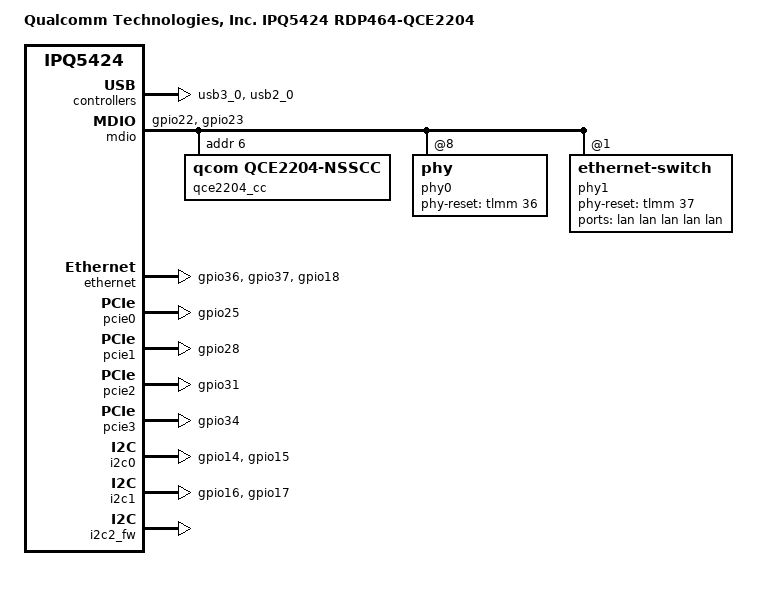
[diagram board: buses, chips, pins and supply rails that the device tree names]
// SPDX-License-Identifier: GPL-2.0-only
/*
 * Copyright (c) Qualcomm Technologies, Inc. and/or its subsidiaries.
 */

/dts-v1/;

#include "ipq5424.dtsi"
#include <asm/arch/dt-bindings/clock/qcom,qce2204-nsscc.h>
#include <asm/arch/dt-bindings/reset/qcom,qce2204-nsscc.h>

/ {
	model = "Qualcomm Technologies, Inc. IPQ5424 RDP464-QCE2204";
	compatible = "qcom,ipq5424-rdp464-qce2204", "qcom,ipq5424";

	aliases {
		serial0 = &uart1;
	};

	soc@0 {
		qmp_ssphy_0: ssphy@7D000 {
			status = "okay";
		};

		qusb2_phy_0: qusb2_0@7B000 {
			status = "okay";
		};

		usb3_0: usb3_0@8af8800 {
			status = "okay";
		};

		qusb2_phy_1: qusb2_1@71000 {
			status = "okay";
		};

		usb2_0: usb2_0@1ef8800 {
			status = "okay";
		};

		mdio: mdio@90000 {
			pinctrl-names = "default";
			pinctrl-0 = <&mdio_pinmux>;
			status = "okay";
			qcom,package-mode = "internal";
			#address-cells = <1>;
			#size-cells = <0>;

			/* QCE2204 clock/reset controller at MDIO address 6 */
			qce2204_cc: clock-controller@6 {
				#address-cells = <0>;
				#size-cells = <0>;
				compatible = "qcom,qce2204-nsscc";
				reg = <6 0>;
				#clock-cells = <1>;
				#reset-cells = <1>;
			};

			phy0: phy@8 {
				phy-reset-gpio = <&tlmm 36 0>;
				phy_addr = <8>;
				phy_type = <QCA81xx_PHY_TYPE>;
				id = <1>;
				uniphy_id = <0>;
				uniphy_type = <0>;
				xgmac;
			};

			phy1: ethernet-switch@1 {
				phy-reset-gpio = <&tlmm 37 0>;
				dev-mode = <0x1>;
				phy_addr = <0>;
				phy_type = <QCE2204_SWITCH_TYPE>;
				id = <2>;
				uniphy_id = <1>;
				uniphy_type = <0>;
				max_speed = <2500>;
				force-speed;
				xgmac;
				qcom,package-mode = "internal";
				base_addr = <0>;

				/* Per-PHY clocks */
				clocks = <&qce2204_cc QCE2204_NSSCC_SRDS1_SYS_CLK>,
					<&qce2204_cc QCE2204_NSSCC_MAC1_GEPHY0_TX_CLK>,
					<&qce2204_cc QCE2204_NSSCC_MAC1_GEPHY0_RX_CLK>,
					<&qce2204_cc QCE2204_NSSCC_GEPHY0_SYS_CLK>,
					/* Shared clocks for package */
					<&qce2204_cc QCE2204_NSSCC_MAC1_SRDS1_CH0_TX_CLK>,
					<&qce2204_cc QCE2204_NSSCC_MAC1_SRDS1_CH0_RX_CLK>,
					<&qce2204_cc QCE2204_NSSCC_MAC0_1_SRDS1_CH0_XGMII_TX_CLK>,
					<&qce2204_cc QCE2204_NSSCC_MAC0_1_SRDS1_CH0_XGMII_RX_CLK>,
					<&qce2204_cc QCE2204_NSSCC_MAC2_SRDS1_CH1_TX_CLK>,
					<&qce2204_cc QCE2204_NSSCC_MAC2_SRDS1_CH1_RX_CLK>,
					<&qce2204_cc QCE2204_NSSCC_MAC2_SRDS1_CH1_XGMII_TX_CLK>,
					<&qce2204_cc QCE2204_NSSCC_MAC2_SRDS1_CH1_XGMII_RX_CLK>,
					<&qce2204_cc QCE2204_NSSCC_MAC3_SRDS1_CH2_TX_CLK>,
					<&qce2204_cc QCE2204_NSSCC_MAC3_SRDS1_CH2_RX_CLK>,
					<&qce2204_cc QCE2204_NSSCC_MAC3_SRDS1_CH2_XGMII_TX_CLK>,
					<&qce2204_cc QCE2204_NSSCC_MAC3_SRDS1_CH2_XGMII_RX_CLK>,
					<&qce2204_cc QCE2204_NSSCC_MAC4_SRDS1_CH3_TX_CLK>,
					<&qce2204_cc QCE2204_NSSCC_MAC4_SRDS1_CH3_RX_CLK>,
					<&qce2204_cc QCE2204_NSSCC_MAC4_SRDS1_CH3_XGMII_TX_CLK>,
					<&qce2204_cc QCE2204_NSSCC_MAC4_SRDS1_CH3_XGMII_RX_CLK>,
					<&qce2204_cc QCE2204_NSSCC_AHB_CLK>,
					<&qce2204_cc QCE2204_NSSCC_SWITCH_CORE_CLK>,
					<&qce2204_cc QCE2204_NSSCC_SWITCH_IPE_CLK>,
					<&qce2204_cc QCE2204_NSSCC_SWITCH_BTQ_CLK>,
					<&qce2204_cc QCE2204_NSSCC_SWITCH_CFG_CLK>,
					<&qce2204_cc QCE2204_NSSCC_APB_BRIDGE_CLK>,
					<&qce2204_cc QCE2204_NSSCC_MAC0_TX_CLK>,
					<&qce2204_cc QCE2204_NSSCC_MAC0_RX_CLK>,
					<&qce2204_cc QCE2204_NSSCC_MAC1_TX_CLK>,
					<&qce2204_cc QCE2204_NSSCC_MAC1_RX_CLK>,
					<&qce2204_cc QCE2204_NSSCC_MAC2_TX_CLK>,
					<&qce2204_cc QCE2204_NSSCC_MAC2_RX_CLK>,
					<&qce2204_cc QCE2204_NSSCC_MAC3_TX_CLK>,
					<&qce2204_cc QCE2204_NSSCC_MAC3_RX_CLK>,
					<&qce2204_cc QCE2204_NSSCC_MAC4_TX_CLK>,
					<&qce2204_cc QCE2204_NSSCC_MAC4_RX_CLK>,
					<&qce2204_cc QCE2204_NSSCC_MAC5_TX_CLK>,
					<&qce2204_cc QCE2204_NSSCC_MAC5_RX_CLK>,
					/* MAC5 SRDS0 XGMII gate clocks for port 5 */
					<&qce2204_cc QCE2204_NSSCC_MAC5_TX_SRDS0_CH0_XGMII_CLK>,
					<&qce2204_cc QCE2204_NSSCC_MAC5_RX_SRDS0_CH0_XGMII_CLK>,
					/* SRDS0 (PCS0) clocks for port 5 USXGMII */
					<&qce2204_cc QCE2204_NSSCC_SRDS0_SYS_CLK>,
					<&qce2204_cc QCE2204_NSSCC_SRDS0_RX_MUX_SEL>,
					<&qce2204_cc QCE2204_NSSCC_SRDS0_TX_MUX_SEL>,
					<&qce2204_cc QCE2204_NSSCC_SRDS0_XGMII_RX_MUX_SEL>,
					<&qce2204_cc QCE2204_NSSCC_SRDS0_XGMII_TX_MUX_SEL>;
				clock-names = "pcs_sys_clk", "tx_clk", "rx_clk", "sys_clk",
					"ch0_gmii_tx_clk",
					"ch0_gmii_rx_clk",
					"ch0_xgmii_tx_clk",
					"ch0_xgmii_rx_clk",
					"ch1_gmii_tx_clk",
					"ch1_gmii_rx_clk",
					"ch1_xgmii_tx_clk",
					"ch1_xgmii_rx_clk",
					"ch2_gmii_tx_clk",
					"ch2_gmii_rx_clk",
					"ch2_xgmii_tx_clk",
					"ch2_xgmii_rx_clk",
					"ch3_gmii_tx_clk",
					"ch3_gmii_rx_clk",
					"ch3_xgmii_tx_clk",
					"ch3_xgmii_rx_clk",
					"ahb_clk",
					"switch_core_clk",
					"switch_ipe_clk",
					"switch_btq_clk",
					"switch_cfg_clk",
					"switch_apb_clk",
					"mac0_tx_clk",
					"mac0_rx_clk",
					"mac1_tx_clk",
					"mac1_rx_clk",
					"mac2_tx_clk",
					"mac2_rx_clk",
					"mac3_tx_clk",
					"mac3_rx_clk",
					"mac4_tx_clk",
					"mac4_rx_clk",
					"mac5_tx_clk",
					"mac5_rx_clk",
					"mac5_tx_xgmii_clk",
					"mac5_rx_xgmii_clk",
					"srds0_sys_clk",
					"srds0_rx_mux",
					"srds0_tx_mux",
					"srds0_xgmii_rx_mux",
					"srds0_xgmii_tx_mux";

				/* Per-PHY resets */
				resets = <&qce2204_cc QCE2204_NSSCC_SRDS1_SYS_ARES>,
					<&qce2204_cc QCE2204_NSSCC_MAC1_GEPHY0_TX_ARES>,
					<&qce2204_cc QCE2204_NSSCC_MAC1_GEPHY0_RX_ARES>,
					<&qce2204_cc QCE2204_NSSCC_GEPHY0_SYS_ARES>,
					/* Shared resets for package */
					<&qce2204_cc QCE2204_NSSCC_MAC1_SRDS1_CH0_TX_ARES>,
					<&qce2204_cc QCE2204_NSSCC_MAC1_SRDS1_CH0_RX_ARES>,
					<&qce2204_cc QCE2204_NSSCC_MAC0_1_SRDS1_CH0_XGMII_TX_ARES>,
					<&qce2204_cc QCE2204_NSSCC_MAC0_1_SRDS1_CH0_XGMII_RX_ARES>,
					<&qce2204_cc QCE2204_NSSCC_MAC2_SRDS1_CH1_TX_ARES>,
					<&qce2204_cc QCE2204_NSSCC_MAC2_SRDS1_CH1_RX_ARES>,
					<&qce2204_cc QCE2204_NSSCC_MAC2_SRDS1_CH1_XGMII_TX_ARES>,
					<&qce2204_cc QCE2204_NSSCC_MAC2_SRDS1_CH1_XGMII_RX_ARES>,
					<&qce2204_cc QCE2204_NSSCC_MAC3_SRDS1_CH2_TX_ARES>,
					<&qce2204_cc QCE2204_NSSCC_MAC3_SRDS1_CH2_RX_ARES>,
					<&qce2204_cc QCE2204_NSSCC_MAC3_SRDS1_CH2_XGMII_TX_ARES>,
					<&qce2204_cc QCE2204_NSSCC_MAC3_SRDS1_CH2_XGMII_RX_ARES>,
					<&qce2204_cc QCE2204_NSSCC_MAC4_SRDS1_CH3_TX_ARES>,
					<&qce2204_cc QCE2204_NSSCC_MAC4_SRDS1_CH3_RX_ARES>,
					<&qce2204_cc QCE2204_NSSCC_MAC4_SRDS1_CH3_XGMII_TX_ARES>,
					<&qce2204_cc QCE2204_NSSCC_MAC4_SRDS1_CH3_XGMII_RX_ARES>,
					<&qce2204_cc QCE2204_NSSCC_SRDS1_XPCS_ARES>,
					<&qce2204_cc QCE2204_NSSCC_SWITCH_BTQ_ARES>,
					<&qce2204_cc QCE2204_NSSCC_SWITCH_CFG_ARES>,
					<&qce2204_cc QCE2204_NSSCC_SWITCH_CORE_ARES>,
					<&qce2204_cc QCE2204_NSSCC_SWITCH_IPE_ARES>,
					<&qce2204_cc QCE2204_NSSCC_SWITCH_MAC0_ARES>,
					<&qce2204_cc QCE2204_NSSCC_SWITCH_MAC1_ARES>,
					<&qce2204_cc QCE2204_NSSCC_SWITCH_MAC2_ARES>,
					<&qce2204_cc QCE2204_NSSCC_SWITCH_MAC3_ARES>,
					<&qce2204_cc QCE2204_NSSCC_SWITCH_MAC4_ARES>,
					<&qce2204_cc QCE2204_NSSCC_SWITCH_MAC5_ARES>,
					<&qce2204_cc QCE2204_NSSCC_XGMAC0_PTP_REF_ARES>,
					<&qce2204_cc QCE2204_NSSCC_XGMAC1_PTP_REF_ARES>,
					<&qce2204_cc QCE2204_NSSCC_MAC0_TX_ARES>,
					<&qce2204_cc QCE2204_NSSCC_MAC0_RX_ARES>,
					<&qce2204_cc QCE2204_NSSCC_MAC1_TX_ARES>,
					<&qce2204_cc QCE2204_NSSCC_MAC1_RX_ARES>,
					<&qce2204_cc QCE2204_NSSCC_MAC2_TX_ARES>,
					<&qce2204_cc QCE2204_NSSCC_MAC2_RX_ARES>,
					<&qce2204_cc QCE2204_NSSCC_MAC3_TX_ARES>,
					<&qce2204_cc QCE2204_NSSCC_MAC3_RX_ARES>,
					<&qce2204_cc QCE2204_NSSCC_MAC4_TX_ARES>,
					<&qce2204_cc QCE2204_NSSCC_MAC4_RX_ARES>,
					<&qce2204_cc QCE2204_NSSCC_MAC5_TX_ARES>,
					<&qce2204_cc QCE2204_NSSCC_MAC5_RX_ARES>,
					/* MAC5 SRDS0 channel resets (PCS_FUNC_TX/RX in Linux) */
					<&qce2204_cc QCE2204_NSSCC_MAC5_TX_SRDS0_ARES>,
					<&qce2204_cc QCE2204_NSSCC_MAC5_RX_SRDS0_ARES>,
					/* MAC5 SRDS0 XGMII resets (XPCS_FUNC_XGMII_TX/RX in Linux) */
					<&qce2204_cc QCE2204_NSSCC_MAC5_TX_SRDS0_CH0_XGMII_ARES>,
					<&qce2204_cc QCE2204_NSSCC_MAC5_RX_SRDS0_CH0_XGMII_ARES>,
					/* SRDS0 (PCS0) resets for port 5 USXGMII */
					<&qce2204_cc QCE2204_NSSCC_SRDS0_SYS_ARES>,
					<&qce2204_cc QCE2204_NSSCC_SRDS0_XPCS_ARES>;
				reset-names = "pcs_sys_reset", "tx_reset", "rx_reset", "sys_reset",
					"ch0_gmii_tx_reset",
					"ch0_gmii_rx_reset",
					"ch0_xgmii_tx_reset",
					"ch0_xgmii_rx_reset",
					"ch1_gmii_tx_reset",
					"ch1_gmii_rx_reset",
					"ch1_xgmii_tx_reset",
					"ch1_xgmii_rx_reset",
					"ch2_gmii_tx_reset",
					"ch2_gmii_rx_reset",
					"ch2_xgmii_tx_reset",
					"ch2_xgmii_rx_reset",
					"ch3_gmii_tx_reset",
					"ch3_gmii_rx_reset",
					"ch3_xgmii_tx_reset",
					"ch3_xgmii_rx_reset",
					"xpcs",
					"switch_btq_reset",
					"switch_cfg_reset",
					"switch_core_reset",
					"switch_ipe_reset",
					"switch_mac0_reset",
					"switch_mac1_reset",
					"switch_mac2_reset",
					"switch_mac3_reset",
					"switch_mac4_reset",
					"switch_mac5_reset",
					"xgmac0_ptp_ref_reset",
					"xgmac1_ptp_ref_reset",
					"mac0_tx_reset",
					"mac0_rx_reset",
					"mac1_tx_reset",
					"mac1_rx_reset",
					"mac2_tx_reset",
					"mac2_rx_reset",
					"mac3_tx_reset",
					"mac3_rx_reset",
					"mac4_tx_reset",
					"mac4_rx_reset",
					"mac5_tx_reset",
					"mac5_rx_reset",
					"mac5_tx_srds0_reset",
					"mac5_rx_srds0_reset",
					"mac5_tx_xgmii_reset",
					"mac5_rx_xgmii_reset",
					"srds0_sys_reset",
					"srds0_xpcs_reset";
				ports {
					#address-cells = <1>;
					#size-cells = <0>;

					port1: port@1 {
						port-id = <1>;
						phy_addr = <0>;
						label = "lan";
						clocks = <&qce2204_cc QCE2204_NSSCC_MAC1_GEPHY0_TX_CLK>,
							<&qce2204_cc QCE2204_NSSCC_MAC1_GEPHY0_RX_CLK>,
							<&qce2204_cc QCE2204_NSSCC_GEPHY1_SYS_CLK>;
						clock-names = "tx_clk", "rx_clk", "sys_clk";

						resets = <&qce2204_cc QCE2204_NSSCC_MAC1_GEPHY0_TX_ARES>,
							<&qce2204_cc QCE2204_NSSCC_MAC1_GEPHY0_RX_ARES>,
							<&qce2204_cc QCE2204_NSSCC_GEPHY1_SYS_ARES>;
						reset-names = "tx_reset", "rx_reset", "sys_reset";
					};

					port2: port@2 {
						port-id = <2>;
						phy_addr = <1>;
						label = "lan";
						clocks = <&qce2204_cc QCE2204_NSSCC_MAC2_GEPHY1_TX_CLK>,
							<&qce2204_cc QCE2204_NSSCC_MAC2_GEPHY1_RX_CLK>,
							<&qce2204_cc QCE2204_NSSCC_GEPHY1_SYS_CLK>;
						clock-names = "tx_clk", "rx_clk", "sys_clk";

						resets = <&qce2204_cc QCE2204_NSSCC_MAC2_GEPHY1_TX_ARES>,
							<&qce2204_cc QCE2204_NSSCC_MAC2_GEPHY1_RX_ARES>,
							<&qce2204_cc QCE2204_NSSCC_GEPHY1_SYS_ARES>;
						reset-names = "tx_reset", "rx_reset", "sys_reset";
					};

					port3: port@3 {
						port-id = <3>;
						phy_addr = <2>;
						label = "lan";
						clocks = <&qce2204_cc QCE2204_NSSCC_MAC3_GEPHY2_TX_CLK>,
							<&qce2204_cc QCE2204_NSSCC_MAC3_GEPHY2_RX_CLK>,
							<&qce2204_cc QCE2204_NSSCC_GEPHY2_SYS_CLK>;
						clock-names = "tx_clk", "rx_clk", "sys_clk";

						resets = <&qce2204_cc QCE2204_NSSCC_MAC3_GEPHY2_TX_ARES>,
							<&qce2204_cc QCE2204_NSSCC_MAC3_GEPHY2_RX_ARES>,
							<&qce2204_cc QCE2204_NSSCC_GEPHY2_SYS_ARES>;
						reset-names = "tx_reset", "rx_reset", "sys_reset";
					};

					port4: port@4 {
						port-id = <4>;
						phy_addr = <3>;
						label = "lan";
						clocks = <&qce2204_cc QCE2204_NSSCC_MAC4_GEPHY3_TX_CLK>,
							<&qce2204_cc QCE2204_NSSCC_MAC4_GEPHY3_RX_CLK>,
							<&qce2204_cc QCE2204_NSSCC_GEPHY3_SYS_CLK>;
						clock-names = "tx_clk", "rx_clk", "sys_clk";

						resets = <&qce2204_cc QCE2204_NSSCC_MAC4_GEPHY3_TX_ARES>,
							<&qce2204_cc QCE2204_NSSCC_MAC4_GEPHY3_RX_ARES>,
							<&qce2204_cc QCE2204_NSSCC_GEPHY3_SYS_ARES>;
						reset-names = "tx_reset", "rx_reset", "sys_reset";
					};

					/* Port 5: external QCA81xx PHY via USXGMII over SRDS0/PCS0 */
					port5: port@5 {
						port-id = <5>;
						phy_addr = <12>;
						label = "lan";
						is_external;
						clocks = <&qce2204_cc QCE2204_NSSCC_MAC5_TX_SRDS0_CLK>,
							<&qce2204_cc QCE2204_NSSCC_MAC5_RX_SRDS0_CLK>,
							<&qce2204_cc QCE2204_NSSCC_SRDS0_SYS_CLK>;
						clock-names = "tx_clk", "rx_clk", "sys_clk";

						resets = <&qce2204_cc QCE2204_NSSCC_MAC5_TX_SRDS0_ARES>,
							<&qce2204_cc QCE2204_NSSCC_MAC5_RX_SRDS0_ARES>,
							<&qce2204_cc QCE2204_NSSCC_SRDS0_SYS_ARES>;
						reset-names = "tx_reset", "rx_reset", "sys_reset";
					};
				};
			};
		};

		ethernet: nss-switch {
			pinctrl-names = "default";
			pinctrl-0 = <&phy_rst_pinmux>;
			phy-handle0 = <&phy0>;
			phy-handle1 = <&phy1>;
			status = "okay";
		};

		pcie0: pcie@70000000 {
			pinctrl-0 = <&pcie0_default_state>;
			pinctrl-names = "default";
			perst-gpios = <&tlmm 25 GPIO_ACTIVE_LOW>;
			status = "okay";
		};

		pcie1: pcie@60000000 {
			pinctrl-0 = <&pcie1_default_state>;
			pinctrl-names = "default";
			status = "okay";
			perst-gpios = <&tlmm 28 GPIO_ACTIVE_LOW>;
		};

		pcie2: pcie@50000000 {
			pinctrl-0 = <&pcie2_default_state>;
			pinctrl-names = "default";
			status = "okay";
			perst-gpios = <&tlmm 31 GPIO_ACTIVE_LOW>;
		};

		pcie3: pcie@40000000 {
			pinctrl-0 = <&pcie3_default_state>;
			pinctrl-names = "default";
			status = "okay";
			perst-gpios = <&tlmm 34 GPIO_ACTIVE_LOW>;
		};
	};
};

&tlmm {
	mdio_pinmux: mdio {
		mdc {
			pins = "gpio22";
			function = "mdc_mst";
			drive-strength = <8>;
			bias-disable;
		};

		mdio {
			pins = "gpio23";
			function = "mdio_mst";
			drive-strength = <8>;
			bias-pull-up;
		};
	};

	phy_rst_pinmux: phy_rst {
		qti_laguna0_rst {
			pins = "gpio36";
			drive-strength = <2>;
			bias-pull-down;
			output-high;
		};

		qti_laguna1_rst {
			pins = "gpio37";
			drive-strength = <2>;
			bias-pull-down;
			output-high;
		};

		qti_qce1204_rst {
			pins = "gpio18";
			drive-strength = <2>;
			bias-pull-down;
			output-low;
		};
	};

	i2c0_pinmux: i2c0 {
		i2c0_scl {
			pins = "gpio14";
			function = "i2c0_scl";
			drive-strength = <2>;
			bias-pull-up;
		};

		i2c0_sda {
			pins = "gpio15";
			function = "i2c0_sda";
			drive-strength = <2>;
			bias-disable;
		};
	};

	i2c1_pinmux: i2c1 {
		i2c1_scl {
			pins = "gpio16";
			function = "i2c1_scl";
			drive-strength = <2>;
			bias-pull-down;
		};

		i2c1_sda {
			pins = "gpio17";
			function = "i2c1_sda";
			drive-strength = <2>;
			bias-pull-down;
		};
	};

	i2c2_pinmux: i2c2 {
		i2c2_sda {
			pins = "gpio47";
			function = "spi10";
			drive-strength = <8>;
			bias-disable;
		};

		i2c2_scl {
			pins = "gpio48";
			function = "spi10";
			drive-strength = <8>;
			bias-pull-up;
		};
	};

	pcie0_default_state: pcie0-default-state {
		perst-n-pins {
			pins = "gpio25";
			function = "gpio";
			drive-strength = <8>;
			bias-pull-up;
			output-low;
		};
	};

	pcie1_default_state: pcie1-default-state {
		perst-n-pins {
			pins = "gpio28";
			function = "gpio";
			drive-strength = <8>;
			bias-pull-up;
			output-low;
		};
	};

	pcie2_default_state: pcie2-default-state {
		perst-n-pins {
			pins = "gpio31";
			function = "gpio";
			drive-strength = <8>;
			bias-pull-up;
			output-low;
		};
	};

	pcie3_default_state: pcie3-default-state {
		perst-n-pins {
			pins = "gpio34";
			function = "gpio";
			drive-strength = <8>;
			bias-pull-up;
			output-low;
		};
	};
};

&qupv3 {
	i2c0: i2c@1a88000 {
		pinctrl-0 = <&i2c0_pinmux>;
		pinctrl-names = "default";
		status = "okay";
	};

	i2c1: i2c@1a8c000 {
		pinctrl-0 = <&i2c1_pinmux>;
		pinctrl-names = "default";
		status = "okay";
	};

	se5: se5@1a94000 {
		compatible = "qcom,geni-i2c";
		clocks = <&gcc GCC_QUPV3_SPI1_CLK>;
		clock-names = "se";
		clock-frequency = <400000>;
		qup-se-fw-load = <&i2c2_fw>;
		qcom,geni-se-clk-32mhz;
		pinctrl-0 = <&i2c2_pinmux>;
		pinctrl-names = "default";
		status = "okay";
	};

	i2c2_fw: i2c2_firmware@0 {
		compatible = "qcom,ipq5424-geni-i2c-fw-v1",
			     "qcom,geni-i2c-fw-v1";
		reg = <0 0x1a94000 0 0x4000>;
		status = "okay";
	};
};
